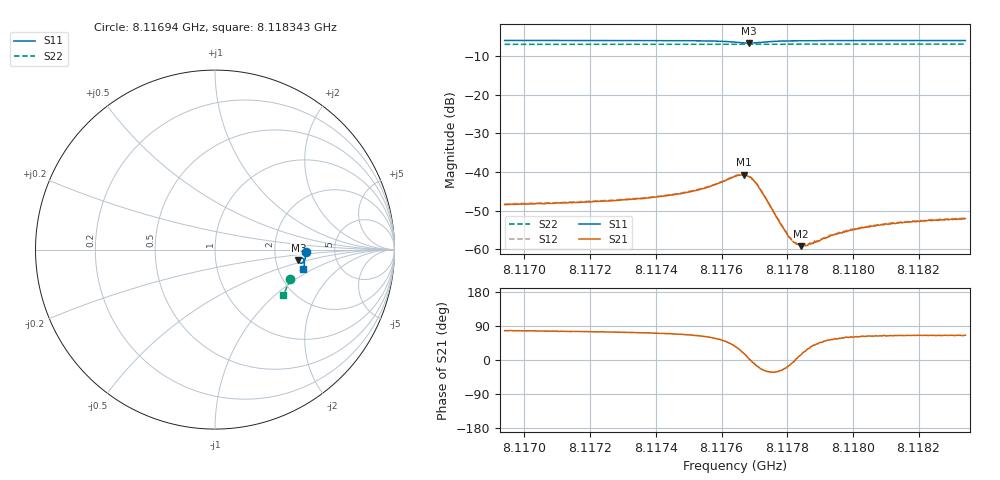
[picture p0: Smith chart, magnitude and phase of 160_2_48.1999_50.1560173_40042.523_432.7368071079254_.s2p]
#  HZ  S  RI  R  50.00
! Rohde & Schwarz Vector Network Analyzer
! Rohde-Schwarz,ZNB20-2Port,1311601062101988,3.16
! Created: UTC 3/20/2024, 11:43:11 AM
! freq[Hz]  re:S11  im:S11  re:S21  im:S21  re:S12  im:S12  re:S22  im:S22
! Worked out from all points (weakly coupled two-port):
!   401 points, 8.11694 GHz to 8.118343 GHz, reference 50 ohm
!   highest |S21| = -40.63 dB at 8.117669 GHz (marker M1); lowest = -59.2 dB at 8.117841 GHz (marker M2)
!   lowest |S11| = -6.6 dB at 8.117683 GHz (marker M3), VSWR 2.76, Z = 134 - j20.2 ohm
!   |S11| at or under -10 dB: nowhere
!   |S22| runs from -6.9 to -6.8 dB; largest |S21 - S12| = 0.00028
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8.1169395e9  0.5061 -0.0123  0.000826 0.00371  0.000848 0.00377  0.4192 -0.1654
8.1171745e9  0.5047 -0.031  0.00105 0.00394  0.00113 0.00401  0.4136 -0.1808
8.1172657e9  0.5039 -0.0386  0.00121 0.00408  0.00128 0.00415  0.411 -0.1868
8.1174095e9  0.5018 -0.0515  0.00163 0.00452  0.00166 0.00461  0.4071 -0.1959
8.1174797e9  0.4996 -0.0587  0.00201 0.00491  0.00212 0.00497  0.4052 -0.2007
8.1175393e9  0.4964 -0.0658  0.00273 0.00541  0.00285 0.00547  0.4033 -0.2044
8.1175744e9  0.4926 -0.0706  0.00352 0.0057  0.00368 0.00577  0.402 -0.2068
8.117641e9  0.4755 -0.0754  0.00709 0.00522  0.00726 0.00525  0.3993 -0.2107
8.1176691e9  0.4653 -0.0668  0.00892 0.00264  0.00903 0.00256  0.3982 -0.212
8.1176831e9  0.4644 -0.0585  0.00872 0.000521  0.00887 0.000522  0.3978 -0.2122
8.1176972e9  0.4677 -0.0511  0.00784 -0.00104  0.00785 -0.00119  0.3978 -0.2127
8.1177112e9  0.4737 -0.0468  0.00636 -0.00202  0.0063 -0.00215  0.3975 -0.2136
8.1177743e9  0.4932 -0.0525  0.00205 -0.00115  0.00207 -0.00123  0.3964 -0.2181
8.1178059e9  0.4964 -0.0579  0.00138 -0.00036  0.00144 -0.0004  0.3958 -0.2201
8.1178234e9  0.4973 -0.0608  0.00122 -3.59e-05  0.00123 -5.66e-05  0.3951 -0.2214
8.117841e9  0.4978 -0.0633  0.00107 0.000248  0.0011 0.000269  0.3946 -0.2225
8.117855e9  0.4981 -0.0652  0.00103 0.000433  0.00108 0.000464  0.3941 -0.2234
8.117876e9  0.4985 -0.0677  0.000966 0.000721  0.000976 0.000736  0.3935 -0.2247
8.1179392e9  0.4985 -0.0747  0.000905 0.00124  0.000888 0.00125  0.3914 -0.2288
8.1179883e9  0.4981 -0.0796  0.000879 0.00152  0.000906 0.00154  0.3899 -0.2318
8.1181111e9  0.4967 -0.0904  0.000938 0.00193  0.000953 0.00198  0.3858 -0.2395
8.1183426e9  0.493 -0.1088  0.00104 0.00228  0.00109 0.00229  0.3774 -0.2534
